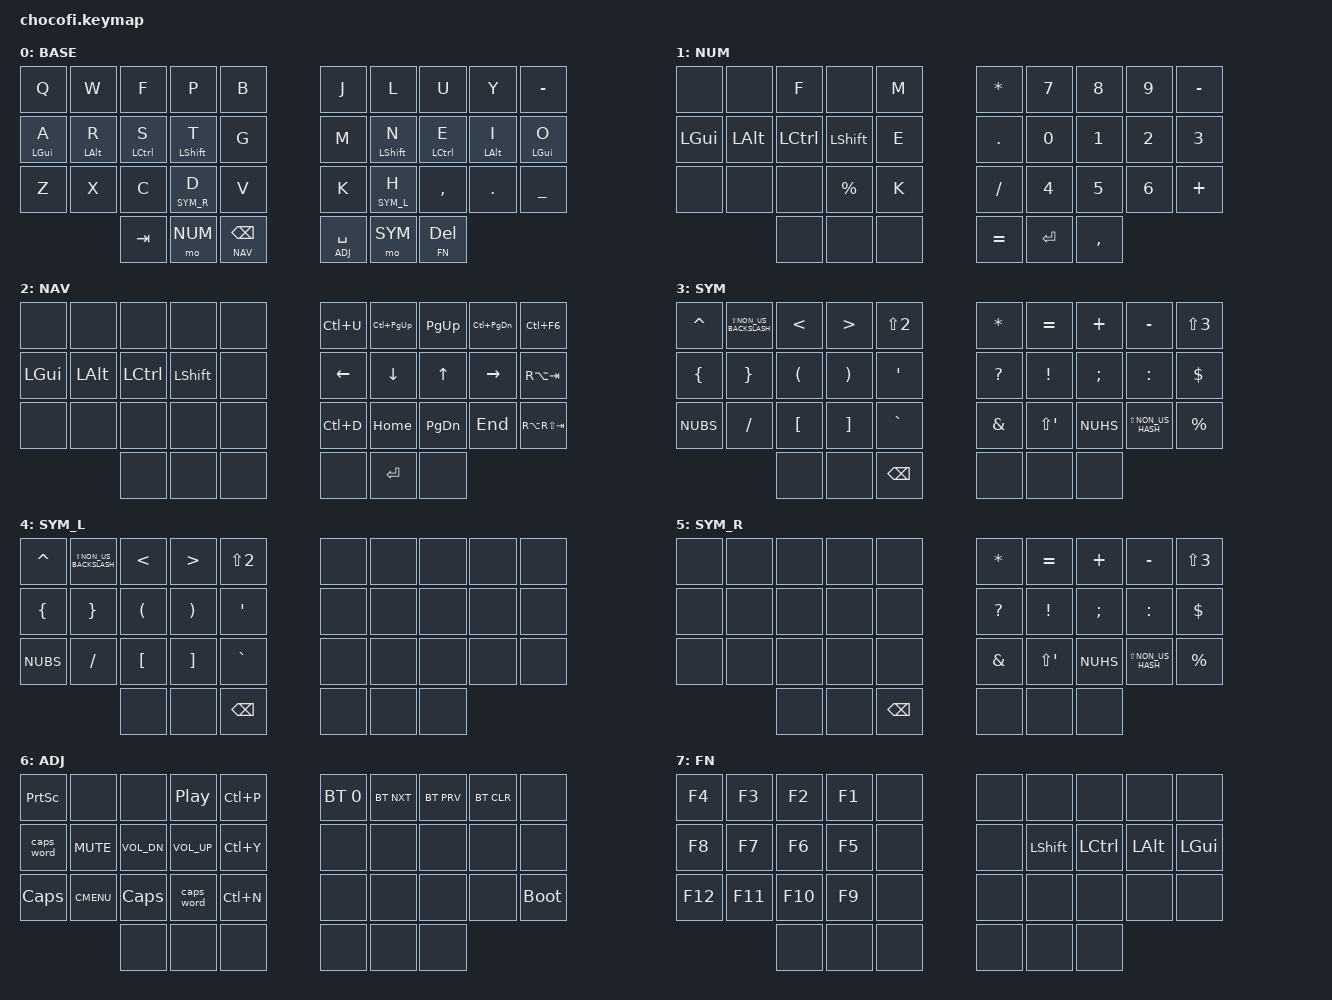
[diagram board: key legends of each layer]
/*
* Copyright (c) 2020 The ZMK Contributors
*
* SPDX-License-Identifier: MIT
*
* Heavily inspired by: https://github.com/nickfaraco/zmk-config/tree/main
*/


#include <behaviors.dtsi>
#include <dt-bindings/zmk/keys.h>
#include <dt-bindings/zmk/bt.h>
#include <dt-bindings/zmk/behaviors.h>

// layers ID definition
#define BASE 0
#define NUM 1
#define NAV 2
#define SYM 3
#define SYM_L 4
#define SYM_R 5
#define ADJ 6
#define FN 7

#define xxx &none
#define ___ &trans

// Navigation combos
#define PREV_APP RA(TAB)
#define NEXT_APP RA(RS(TAB))
#define NEXT_OFF LC(F6)
#define NEXT_TAB LC(PAGE_UP)
#define PREV_TAB LC(PAGE_DOWN)

// UK symbols
#define UK_POUND LS(N3)
#define UK_AT LS(SINGLE_QUOTE)
#define UK_DQT LS(N2)

// ISO symbols
#define ISO_TILDA LS(NON_US_HASH)
#define ISO_PIPE LS(NON_US_BACKSLASH)

// tapping term definition
#define TAP_TERM_MS 280
#define QUICK_TAP_MS 175
#define PRIOR_IDLE_MS 260 // 10500 / 40 wpm : https://github.com/urob/zmk-config?tab=readme-ov-file#troubleshooting
#define COMBO_TIMEOUT_MS 50

// 36 keys physical layout
#define LEFT_KEYS 0 1 2 3 4 10 11 12 13 14 20 21 22 23 24 // left-hand keys
#define RIGHT_KEYS 5 6 7 8 9 15 16 17 18 19 25 26 27 28 29 // right-hand keys
#define THUMBS 30 31 32 33 34 35 // thumb keys

&caps_word {
    continue-list = <UNDERSCORE MINUS BACKSPACE DELETE>;
};

/ {
  behaviors {
    hml: home_row_mod_left {
      compatible = "zmk,behavior-hold-tap";
      #binding-cells = <2>;
      flavor = "balanced";
      require-prior-idle-ms = <PRIOR_IDLE_MS>;
      tapping-term-ms = <TAP_TERM_MS>;
      quick-tap-ms = <QUICK_TAP_MS>;
      bindings = <&kp>, <&kp>;
      hold-trigger-key-positions = <RIGHT_KEYS THUMBS>; // List of keys on the right side of the keyboard
      hold-trigger-on-release;
    };
    hmr: home_row_mod_right {
      compatible = "zmk,behavior-hold-tap";
      #binding-cells = <2>;
      flavor = "balanced";
      require-prior-idle-ms = <PRIOR_IDLE_MS>;
      tapping-term-ms = <TAP_TERM_MS>;
      quick-tap-ms = <QUICK_TAP_MS>;
      bindings = <&kp>, <&kp>;
      hold-trigger-key-positions = <LEFT_KEYS THUMBS>; // List of keys on the left side of the keyboard
      hold-trigger-on-release;
    };
    lt: layer_tap {
      compatible = "zmk,behavior-hold-tap";
      #binding-cells = <2>;
      flavor = "tap-preferred";
      tapping-term-ms = <TAP_TERM_MS>;
      require-prior-idle-ms = <PRIOR_IDLE_MS>;
      bindings = <&mo>, <&kp>;
      display-name = "Layer-Tap";
    };
    ltl: layer_tap_mod_left {
      compatible = "zmk,behavior-hold-tap";
      #binding-cells = <2>;
      flavor = "balanced";
      require-prior-idle-ms = <PRIOR_IDLE_MS>;
      tapping-term-ms = <TAP_TERM_MS>;
      quick-tap-ms = <QUICK_TAP_MS>;
      bindings = <&mo>, <&kp>;
      hold-trigger-key-positions = <RIGHT_KEYS THUMBS>; // List of keys on the right side of the keyboard
      hold-trigger-on-release;
    };
    ltr: layer_tap_mod_right {
      compatible = "zmk,behavior-hold-tap";
      #binding-cells = <2>;
      flavor = "balanced";
      require-prior-idle-ms = <PRIOR_IDLE_MS>;
      tapping-term-ms = <TAP_TERM_MS>;
      quick-tap-ms = <QUICK_TAP_MS>;
      bindings = <&mo>, <&kp>;
      hold-trigger-key-positions = <LEFT_KEYS THUMBS>; // List of keys on the left side of the keyboard
      hold-trigger-on-release;
    };
  };

  combos {
    compatible = "zmk,combos";

    /*
       Keys:
      ╭──────┬──────┬──────┬──────┬──────╮   ╭──────┬──────┬──────┬──────┬──────╮
       0:  Q  1:  W  2:  F  3:  P  4:  B      5:  J  6:  L  7:  U  8:  Y  9:  -
      ├──────┼──────┼──────┼──────┼──────┤   ├──────┼──────┼──────┼──────┼──────┤
       10: A  11: R  12: S  13: T  14: G      15: M  16: N  17: E  18: I  19: O
      ├──────┼──────┼──────┼──────┼──────┤   ├──────┼──────┼──────┼──────┼──────┤
       20: Z  21: X  22: C  23: D  24: V      25: K  26: H  27: ,  28: .  29: _
      ╰──────┴──────┼──────┼──────┼──────┤   ├──────┼──────┼──────┼──────┴──────╯
                     30:    31:    32:        33:    34:    35:
                    ╰──────┴──────┴──────╯   ╰──────┴──────┴──────╯
    */

    combo_copy {
      timeout-ms = <COMBO_TIMEOUT_MS>;
      key-positions = <21 22>; // X + C
      bindings = <&kp LC(C)>;
      require-prior-idle-ms = <PRIOR_IDLE_MS>;
    };

    combo_paste {
      timeout-ms = <COMBO_TIMEOUT_MS>;
      key-positions = <22 23>; // C + D
      bindings = <&kp LC(V)>;
      require-prior-idle-ms = <PRIOR_IDLE_MS>;
    };

    combo_cut {
      timeout-ms = <COMBO_TIMEOUT_MS>;
      key-positions = <21 23>; // X + D
      bindings = <&kp LC(X)>;
      require-prior-idle-ms = <PRIOR_IDLE_MS>;
    };

    combo_paste2 {
      timeout-ms = <COMBO_TIMEOUT_MS>;
      key-positions = <23 24>; // D + V
      bindings = <&kp LS(LC(V))>;
      require-prior-idle-ms = <PRIOR_IDLE_MS>;
    };

    combo_enter {
      timeout-ms = <COMBO_TIMEOUT_MS>;
      key-positions = <15 16>; // M + N
      bindings = <&kp RET>;
      require-prior-idle-ms = <PRIOR_IDLE_MS>;
    };

    combo_esc {
      timeout-ms = <COMBO_TIMEOUT_MS>;
      key-positions = <13 14>; // T + G
      bindings = <&kp ESC>;
      require-prior-idle-ms = <PRIOR_IDLE_MS>;
    };

  };

  keymap {
    compatible = "zmk,keymap";

    colmak_dh {
      display-name = "BASE";
      bindings = <
      //╭──────────────┬──────────────┬──────────────┬──────────────┬──────────────╮     ╭──────────────┬──────────────┬──────────────┬──────────────┬──────────────╮
         &kp Q          &kp W          &kp F          &kp P          &kp B                &kp J          &kp L          &kp U          &kp Y          &kp MINUS
      //├──────────────┼──────────────┼──────────────┼──────────────┼──────────────┤     ├──────────────┼──────────────┼──────────────┼──────────────┼──────────────┤
         &hml LGUI A    &hml LALT R    &hml LCTRL S   &hml LSHIFT T  &kp G                &kp M          &hmr LSHIFT N  &hmr LCTRL E   &hmr LALT I    &hmr LGUI O
      //├──────────────┼──────────────┼──────────────┼──────────────┼──────────────┤     ├──────────────┼──────────────┼──────────────┼──────────────┼──────────────┤
         &kp Z          &kp X          &kp C          &ltl SYM_R D   &kp V                &kp K          &ltr SYM_L H   &kp COMMA      &kp DOT        &kp UNDER
      //╰──────────────┴──────────────┼──────────────┼──────────────┼──────────────┤     ├──────────────┼──────────────┼──────────────┼──────────────┴──────────────╯
                                       &kp TAB        &mo NUM        &lt NAV BSPC         &lt ADJ SPACE  &mo SYM        &lt FN DEL
      //                              ╰──────────────┴──────────────┴──────────────╯     ╰──────────────┴──────────────┴──────────────╯
      >;
    };

    num_layer {
      display-name = "NUM";
      bindings = <
      //╭──────────────┬──────────────┬──────────────┬──────────────┬──────────────╮     ╭──────────────┬──────────────┬──────────────┬──────────────┬──────────────╮
         xxx            xxx            &kp F          xxx            &kp M                &kp ASTRK      &kp N7         &kp N8         &kp N9         &kp MINUS
      //├──────────────┼──────────────┼──────────────┼──────────────┼──────────────┤     ├──────────────┼──────────────┼──────────────┼──────────────┼──────────────┤
         &kp LGUI       &kp LALT       &kp LCTRL      &kp LSHIFT     &kp E                &kp DOT        &kp N0         &kp N1         &kp N2         &kp N3
      //├──────────────┼──────────────┼──────────────┼──────────────┼──────────────┤     ├──────────────┼──────────────┼──────────────┼──────────────┼──────────────┤
         xxx            xxx            xxx            &kp PRCNT      &kp K                &kp SLASH      &kp N4         &kp N5         &kp N6         &kp PLUS
      //╰──────────────┴──────────────┼──────────────┼──────────────┼──────────────┤     ├──────────────┼──────────────┼──────────────┼──────────────┴──────────────╯
                                       xxx            xxx            xxx                  &kp EQUAL      &kp RET        &kp COMMA
      //                              ╰──────────────┴^^^───────────┴──────────────╯     ╰──────────────┴──────────────┴──────────────╯
      >;
    };

    nav_layer {
      display-name = "NAV";
      bindings = <
      //╭──────────────┬──────────────┬──────────────┬──────────────┬──────────────╮     ╭──────────────┬──────────────┬──────────────┬──────────────┬──────────────╮
         xxx            xxx            xxx            xxx            xxx                  &kp LC(U)      &kp NEXT_TAB   &kp PG_UP      &kp PREV_TAB   &kp NEXT_OFF
      //├──────────────┼──────────────┼──────────────┼──────────────┼──────────────┤     ├──────────────┼──────────────┼──────────────┼──────────────┼──────────────┤
         &kp LGUI       &kp LALT       &kp LCTRL      &kp LSHIFT     xxx                  &kp LEFT       &kp DOWN       &kp UP         &kp RIGHT      &kp PREV_APP
      //├──────────────┼──────────────┼──────────────┼──────────────┼──────────────┤     ├──────────────┼──────────────┼──────────────┼──────────────┼──────────────┤
         xxx            xxx            xxx            xxx            xxx                  &kp LC(D)      &kp HOME       &kp PG_DN      &kp END        &kp NEXT_APP
      //╰──────────────┴──────────────┼──────────────┼──────────────┼──────────────┤     ├──────────────┼──────────────┼──────────────┼──────────────┴──────────────╯
                                       xxx            xxx            xxx                  xxx            &kp RET        xxx
      //                              ╰──────────────┴──────────────┴^^^───────────╯     ╰──────────────┴──────────────┴──────────────╯
      >;
    };

    sym_layer {
      display-name = "SYM";
      bindings = <
      //╭──────────────┬──────────────┬──────────────┬──────────────┬──────────────╮     ╭──────────────┬──────────────┬──────────────┬──────────────┬──────────────╮
         &kp CARET      &kp ISO_PIPE   &kp LT         &kp GT         &kp UK_DQT           &kp ASTRK      &kp EQUAL      &kp PLUS       &kp MINUS      &kp UK_POUND
      //├──────────────┼──────────────┼──────────────┼──────────────┼──────────────┤     ├──────────────┼──────────────┼──────────────┼──────────────┼──────────────┤
         &kp LBRC       &kp RBRC       &kp LPAR       &kp RPAR       &kp SQT              &kp QMARK      &kp EXCL       &kp SEMI       &kp COLON      &kp DLLR
      //├──────────────┼──────────────┼──────────────┼──────────────┼──────────────┤     ├──────────────┼──────────────┼──────────────┼──────────────┼──────────────┤
         &kp NUBS       &kp SLASH      &kp LBKT       &kp RBKT       &kp GRAVE            &kp AMPS       &kp UK_AT      &kp NUHS       &kp ISO_TILDA  &kp PRCNT
      //╰──────────────┴──────────────┼──────────────┼──────────────┼──────────────┤     ├──────────────┼──────────────┼──────────────┼──────────────┴──────────────╯
                                       xxx            xxx            &kp BSPC             xxx            xxx            xxx
      //                              ╰──────────────┴──────────────┴──────────────╯     ╰──────────────┴^^^───────────┴──────────────╯
      >;
    };

    sym_left_layer {
      display-name = "SYM_L";
      bindings = <
      //╭──────────────┬──────────────┬──────────────┬──────────────┬──────────────╮     ╭──────────────┬──────────────┬──────────────┬──────────────┬──────────────╮
         &kp CARET      &kp ISO_PIPE   &kp LT         &kp GT         &kp UK_DQT           xxx            xxx            xxx            xxx            xxx
      //├──────────────┼──────────────┼──────────────┼──────────────┼──────────────┤     ├──────────────┼──────────────┼──────────────┼──────────────┼──────────────┤
         &kp LBRC       &kp RBRC       &kp LPAR       &kp RPAR       &kp SQT              xxx            xxx            xxx            xxx            xxx
      //├──────────────┼──────────────┼──────────────┼──────────────┼──────────────┤     ├──────────────┼──────────────┼──────────────┼──────────────┼──────────────┤
         &kp NUBS       &kp SLASH      &kp LBKT       &kp RBKT       &kp GRAVE            xxx            xxx            xxx            xxx            xxx
      //╰──────────────┴──────────────┼──────────────┼──────────────┼──────────────┤     ├──────────────┼^^^───────────┼──────────────┼──────────────┴──────────────╯
                                       xxx            xxx            &kp BSPC             xxx            xxx            xxx
      //                              ╰──────────────┴──────────────┴──────────────╯     ╰──────────────┴──────────────┴──────────────╯
      >;
    };

    sym_right_layer {
      display-name = "SYM_R";
      bindings = <
      //╭──────────────┬──────────────┬──────────────┬──────────────┬──────────────╮     ╭──────────────┬──────────────┬──────────────┬──────────────┬──────────────╮
         xxx            xxx            xxx            xxx            xxx                  &kp ASTRK      &kp EQUAL      &kp PLUS       &kp MINUS      &kp UK_POUND
      //├──────────────┼──────────────┼──────────────┼──────────────┼──────────────┤     ├──────────────┼──────────────┼──────────────┼──────────────┼──────────────┤
         xxx            xxx            xxx            xxx            xxx                  &kp QMARK      &kp EXCL       &kp SEMI       &kp COLON      &kp DLLR
      //├──────────────┼──────────────┼──────────────┼──────────────┼──────────────┤     ├──────────────┼──────────────┼──────────────┼──────────────┼──────────────┤
         xxx            xxx            xxx            xxx            xxx                  &kp AMPS       &kp UK_AT      &kp NUHS       &kp ISO_TILDA  &kp PRCNT
      //╰──────────────┴──────────────┼──────────────┼^^^───────────┼──────────────┤     ├──────────────┼──────────────┼──────────────┼──────────────┴──────────────╯
                                       xxx            xxx            &kp BSPC             xxx            xxx            xxx
      //                              ╰──────────────┴──────────────┴──────────────╯     ╰──────────────┴──────────────┴──────────────╯
      >;
    };

    adj_layer {
      display-name = "ADJ";
      bindings = <
      //╭──────────────┬──────────────┬──────────────┬──────────────┬──────────────╮     ╭──────────────┬──────────────┬──────────────┬──────────────┬──────────────╮
         &kp PSCRN      xxx            xxx            &kp C_PP       &kp LC(P)            &bt BT_SEL 0   &bt BT_NXT     &bt BT_PRV     &bt BT_CLR     xxx
      //├──────────────┼──────────────┼──────────────┼──────────────┼──────────────┤     ├──────────────┼──────────────┼──────────────┼──────────────┼──────────────┤
         &caps_word     &kp C_MUTE     &kp C_VOL_DN   &kp C_VOL_UP   &kp LC(Y)            xxx            xxx            xxx            xxx            xxx
      //├──────────────┼──────────────┼──────────────┼──────────────┼──────────────┤     ├──────────────┼──────────────┼──────────────┼──────────────┼──────────────┤
         &kp CAPS       &kp K_CMENU    &kp CAPS       &caps_word     &kp LC(N)            xxx            xxx            xxx            xxx            &bootloader
      //╰──────────────┴──────────────┼──────────────┼──────────────┼──────────────┤     ├──────────────┼──────────────┼──────────────┼──────────────┴──────────────╯
                                       xxx            xxx            xxx                  xxx            xxx            xxx
      //                              ╰──────────────┴──────────────┴──────────────╯     ╰^^^───────────┴──────────────┴──────────────╯
      >;
    };

    fn_layer {
      display-name = "FN";
      bindings = <
      //╭──────────────┬──────────────┬──────────────┬──────────────┬──────────────╮     ╭──────────────┬──────────────┬──────────────┬──────────────┬──────────────╮
         &kp F4         &kp F3         &kp F2         &kp F1         xxx                  xxx            xxx            xxx            xxx            xxx
      //├──────────────┼──────────────┼──────────────┼──────────────┼──────────────┤     ├──────────────┼──────────────┼──────────────┼──────────────┼──────────────┤
         &kp F8         &kp F7         &kp F6         &kp F5         xxx                  xxx            &kp LSHIFT     &kp LCTRL      &kp LALT       &kp LGUI
      //├──────────────┼──────────────┼──────────────┼──────────────┼──────────────┤     ├──────────────┼──────────────┼──────────────┼──────────────┼──────────────┤
         &kp F12        &kp F11        &kp F10        &kp F9         xxx                  xxx            xxx            xxx            xxx            xxx
      //╰──────────────┴──────────────┼──────────────┼──────────────┼──────────────┤     ├──────────────┼──────────────┼──────────────┼──────────────┴──────────────╯
                                       xxx            xxx            xxx                  xxx            xxx            xxx
      //                              ╰──────────────┴──────────────┴──────────────╯     ╰──────────────┴──────────────┴^^^───────────╯
      >;
    };
  };
};
